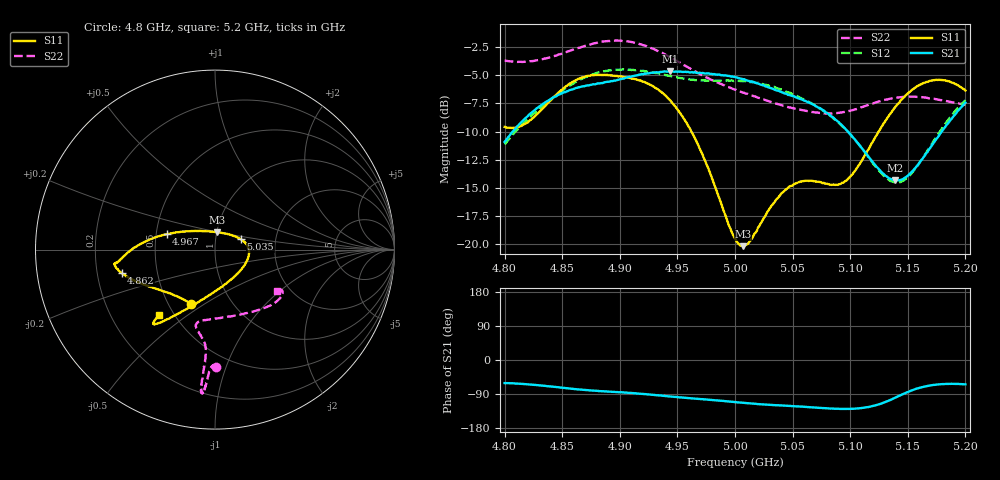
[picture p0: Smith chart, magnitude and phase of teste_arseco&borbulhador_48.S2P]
! Network Analyzer HP8722D
! Hewlett-Packard
! Data name: Linha & Wilkinson
! Saver's name: Rodrigo Anjos
! Comments: Teste da utilização de aquisição
! continua pelo VNA HP8722D
! Time and date: 15/4/2025 16:02
!  Frequency  S11  S21  S12  S22
# HZ  S  MA R 50
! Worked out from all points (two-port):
!   401 points, 4.8 GHz to 5.2 GHz, reference 50 ohm
!   highest |S21| = -4.63 dB at 4.944 GHz (marker M1); lowest = -14.4 dB at 5.139 GHz (marker M2)
!   |S21| within 3 dB of the highest: 4.832 GHz to 5.068 GHz (236.5 MHz wide, 4.78 % of centre); 5.198309 GHz to end of sweep
!   lowest |S11| = -20.2 dB at 5.007 GHz (marker M3), VSWR 1.22, Z = 50.4 + j9.83 ohm
!   |S11| at or under -10 dB: 4.962 GHz to 5.125 GHz (162.7 MHz wide, 3.23 % of centre)
!   |S22| runs from -8.4 to -1.9 dB; largest |S21 - S12| = 0.88
!   S11 on the Smith chart (normalised r, x): 4.8 GHz: 0.64, -0.44; 4.862 GHz: 0.31, -0.11; 4.967 GHz: 0.57, +0.11; 5.035 GHz: 1.33, +0.16; 5.2 GHz: 0.41, -0.39
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4.8e9  0.3319 -114.0  0.2841 -61.0  0.2773 -175.2  0.654 -89.7
4.819e9  0.3454 -133.7  0.3664 -63.9  0.3547 -173.5  0.6484 -91.2
4.862e9  0.5364 -165.9  0.4942 -76.9  0.5266 -176.5  0.7406 -93.6
4.867e9  0.5504 -167.8  0.5023 -78.3  0.5432 -177.6  0.7538 -93.8
4.899e9  0.5561 -172.3  0.5381 -85.2  0.5957 175.7  0.8026 -95.1
4.934e9  0.4837 -178.2  0.5796 -93.4  0.5738 171.9  0.7182 -95.6
4.944e9  0.4337 177.3  0.587 -96.3  0.5585 171.8  0.6776 -95.5
4.967e9  0.2827 162.3  0.5771 -102.4  0.5356 173.8  0.5793 -95.1
5e9  0.1057 106.3  0.5525 -111.0  0.5334 176.2  0.4856 -99.3
5.007e9  0.09755 82.2  0.5408 -112.8  0.5292 176.2  0.471 -100.9
5.013e9  0.1025 63.1  0.5276 -114.4  0.5248 176.2  0.4596 -102.2
5.035e9  0.1553 22.1  0.4844 -119.3  0.4964 174.8  0.4223 -103.9
5.049e9  0.181 7.2  0.4568 -121.6  0.4666 174.5  0.4031 -100.7
5.067e9  0.1907 -12.0  0.4183 -124.9  0.4207 173.8  0.3861 -91.8
5.087e9  0.1829 -44.4  0.358 -128.7  0.3567 173.4  0.3824 -76.7
5.097e9  0.1918 -65.6  0.3199 -129.0  0.3184 174.4  0.3884 -68.4
5.134e9  0.3749 -116.4  0.1953 -106.6  0.1918 -159.3  0.4422 -43.4
5.139e9  0.4061 -119.5  0.1914 -99.6  0.1879 -151.5  0.4473 -41.2
5.152e9  0.4769 -124.8  0.2057 -81.9  0.2023 -131.2  0.452 -36.3
5.17e9  0.533 -128.8  0.2696 -66.8  0.2744 -113.0  0.4444 -32.1
5.184e9  0.5316 -130.1  0.3401 -63.1  0.3509 -107.3  0.4317 -31.1
5.2e9  0.4817 -130.6  0.425 -64.2  0.4362 -106.2  0.4157 -33.5
